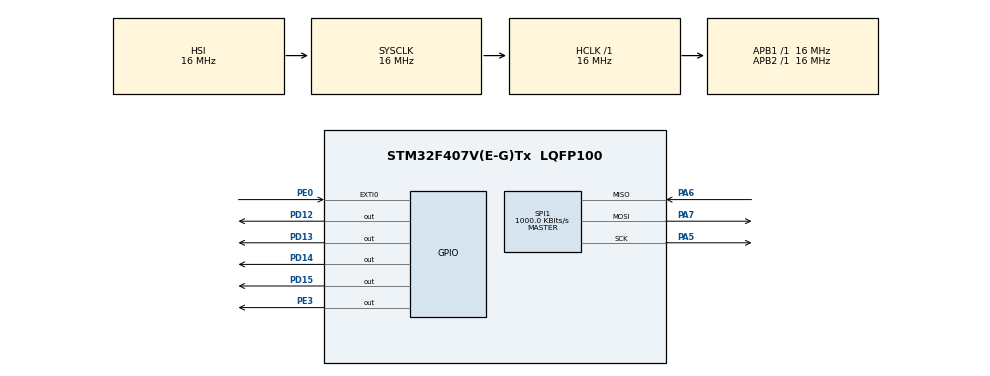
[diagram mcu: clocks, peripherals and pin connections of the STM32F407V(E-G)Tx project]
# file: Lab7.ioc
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Mcu.Family=STM32F4
Mcu.Name=STM32F407V(E-G)Tx
Mcu.Package=LQFP100
NVIC.EXTI0_IRQn=true\:0\:0\:false\:false\:true\:true\:true\:true
NVIC.PriorityGroup=NVIC_PRIORITYGROUP_4
PA5.Mode=Full_Duplex_Master
PA5.Signal=SPI1_SCK
PA6.Mode=Full_Duplex_Master
PA6.Signal=SPI1_MISO
PA7.Mode=Full_Duplex_Master
PA7.Signal=SPI1_MOSI
PD12.Signal=GPIO_Output
PD13.Signal=GPIO_Output
PD14.Signal=GPIO_Output
PD15.Signal=GPIO_Output
PE0.Signal=GPXTI0
PE3.Signal=GPIO_Output
ProjectManager.HeapSize=0x200
ProjectManager.StackSize=0x400
ProjectManager.TargetToolchain=STM32CubeIDE
RCC.AHBFreq_Value=16000000
RCC.APB1Freq_Value=16000000
RCC.APB2Freq_Value=16000000
RCC.CortexFreq_Value=16000000
RCC.HSE_VALUE=25000000
RCC.HSI_VALUE=16000000
RCC.LSE_VALUE=32768
RCC.SYSCLKFreq_VALUE=16000000
RCC.VCOOutputFreq_Value=192000000
SPI1.BaudRatePrescaler=SPI_BAUDRATEPRESCALER_16
SPI1.CalculateBaudRate=1000.0 KBits/s
SPI1.Direction=SPI_DIRECTION_2LINES
SPI1.Mode=SPI_MODE_MASTER
SPI1.VirtualType=VM_MASTER
board=custom

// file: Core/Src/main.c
/* USER CODE BEGIN Header */
/**
  ******************************************************************************
  * @file           : main.c
  * @brief          : Main program body
  ******************************************************************************
  * @attention
  *
  * Copyright (c) 2023 STMicroelectronics.
  * All rights reserved.
  *
  * This software is licensed under terms that can be found in the LICENSE file
  * in the root directory of this software component.
  * If no LICENSE file comes with this software, it is provided AS-IS.
  *
  ******************************************************************************
  */
/* USER CODE END Header */
#include "main.h"

/* USER CODE BEGIN Includes */

#include "MY_LIS3DSH.h"

/* USER CODE END Includes */

SPI_HandleTypeDef hspi1;

/* USER CODE BEGIN PV */

LIS3DSH_DataScaled myData;
uint8_t drdyFlag=0;

/* USER CODE END PV */

void SystemClock_Config(void);
static void MX_GPIO_Init(void);
static void MX_SPI1_Init(void);

/* USER CODE BEGIN 0 */

void HAL_GPIO_EXTI_Callback(uint16_t GPIO_Pin)
{
  /* Prevent unused argument(s) compilation warning */
  UNUSED(GPIO_Pin);
  /* NOTE: This function Should not be modified, when the callback is needed,
           the HAL_GPIO_EXTI_Callback could be implemented in the user file
   */

  drdyFlag = 1;
}

/* USER CODE END 0 */

int main(void)
{

  /* MCU Configuration--------------------------------------------------------*/

  /* Reset of all peripherals, Initializes the Flash interface and the Systick. */
  HAL_Init();

  /* Configure the system clock */
  SystemClock_Config();

  /* Initialize all configured peripherals */
  MX_GPIO_Init();
  MX_SPI1_Init();
  /* USER CODE BEGIN 2 */
  LIS3DSH_InitTypeDef myAccConfigDef;

  myAccConfigDef.dataRate = LIS3DSH_DATARATE_25;
  myAccConfigDef.fullScale = LIS3DSH_FULLSCALE_4;
  myAccConfigDef.antiAliasingBW = LIS3DSH_FILTER_BW_50;
  myAccConfigDef.enableAxes = LIS3DSH_XYZ_ENABLE;
  myAccConfigDef.interruptEnable = true;
  LIS3DSH_Init(&hspi1, &myAccConfigDef);

  LIS3DSH_X_calibrate(-1000.0, 980.0);
  LIS3DSH_Y_calibrate(-1020.0, 1040.0);
  LIS3DSH_Z_calibrate(-920.0, 1040.0);

  /* USER CODE END 2 */

  /* Infinite loop */
  /* USER CODE BEGIN WHILE */
  while (1)
  {
//	  HAL_GPIO_WritePin(GPIOD, GPIO_PIN_15, GPIO_PIN_SET);
	  if(drdyFlag == 1)
	  {
//		  HAL_GPIO_WritePin(GPIOD, GPIO_PIN_14, GPIO_PIN_SET);
		  myData = LIS3DSH_GetDataScaled();
		  if (myData.y > -600.0 && myData.y < -100.0)
		  {
			  HAL_GPIO_WritePin(GPIOD, GPIO_PIN_15, GPIO_PIN_SET);
			  HAL_GPIO_WritePin(GPIOD, GPIO_PIN_13, GPIO_PIN_RESET);

		  }
		  else if (myData.y > 100.0 && myData.y < 600.0)
		  {

		  	  HAL_GPIO_WritePin(GPIOD, GPIO_PIN_13, GPIO_PIN_SET);
		  	  HAL_GPIO_WritePin(GPIOD, GPIO_PIN_15, GPIO_PIN_RESET);

		  }
		  else
		  {
			  HAL_GPIO_WritePin(GPIOD, GPIO_PIN_13, GPIO_PIN_RESET);
 		  	  HAL_GPIO_WritePin(GPIOD, GPIO_PIN_15, GPIO_PIN_RESET);

		  }
		  if (myData.x > 100.0 && myData.x < 600.0)
		  {

		  	  HAL_GPIO_WritePin(GPIOD, GPIO_PIN_14, GPIO_PIN_SET);
		  	  HAL_GPIO_WritePin(GPIOD, GPIO_PIN_12, GPIO_PIN_RESET);
		  }
		  else if (myData.x > -600.0 && myData.x < -100.0)
		  {
		  	  HAL_GPIO_WritePin(GPIOD, GPIO_PIN_12, GPIO_PIN_SET);
		  	  HAL_GPIO_WritePin(GPIOD, GPIO_PIN_14, GPIO_PIN_RESET);

		  }
		  else
		  {
			  HAL_GPIO_WritePin(GPIOD, GPIO_PIN_12, GPIO_PIN_RESET);
			  HAL_GPIO_WritePin(GPIOD, GPIO_PIN_14, GPIO_PIN_RESET);
		  }

		  drdyFlag = 0;
	  }
    /* USER CODE END WHILE */

  }
}

void SystemClock_Config(void)
{
  RCC_OscInitTypeDef RCC_OscInitStruct = {0};
  RCC_ClkInitTypeDef RCC_ClkInitStruct = {0};

  /** Configure the main internal regulator output voltage
  */
  __HAL_RCC_PWR_CLK_ENABLE();
  __HAL_PWR_VOLTAGESCALING_CONFIG(PWR_REGULATOR_VOLTAGE_SCALE1);

  /** Initializes the RCC Oscillators according to the specified parameters
  * in the RCC_OscInitTypeDef structure.
  */
  RCC_OscInitStruct.OscillatorType = RCC_OSCILLATORTYPE_HSI;
  RCC_OscInitStruct.HSIState = RCC_HSI_ON;
  RCC_OscInitStruct.HSICalibrationValue = RCC_HSICALIBRATION_DEFAULT;
  RCC_OscInitStruct.PLL.PLLState = RCC_PLL_NONE;
  if (HAL_RCC_OscConfig(&RCC_OscInitStruct) != HAL_OK)
  {
    Error_Handler();
  }

  /** Initializes the CPU, AHB and APB buses clocks
  */
  RCC_ClkInitStruct.ClockType = RCC_CLOCKTYPE_HCLK|RCC_CLOCKTYPE_SYSCLK
                              |RCC_CLOCKTYPE_PCLK1|RCC_CLOCKTYPE_PCLK2;
  RCC_ClkInitStruct.SYSCLKSource = RCC_SYSCLKSOURCE_HSI;
  RCC_ClkInitStruct.AHBCLKDivider = RCC_SYSCLK_DIV1;
  RCC_ClkInitStruct.APB1CLKDivider = RCC_HCLK_DIV1;
  RCC_ClkInitStruct.APB2CLKDivider = RCC_HCLK_DIV1;

  if (HAL_RCC_ClockConfig(&RCC_ClkInitStruct, FLASH_LATENCY_0) != HAL_OK)
  {
    Error_Handler();
  }
}

static void MX_SPI1_Init(void)
{

  /* SPI1 parameter configuration*/
  hspi1.Instance = SPI1;
  hspi1.Init.Mode = SPI_MODE_MASTER;
  hspi1.Init.Direction = SPI_DIRECTION_2LINES;
  hspi1.Init.DataSize = SPI_DATASIZE_8BIT;
  hspi1.Init.CLKPolarity = SPI_POLARITY_LOW;
  hspi1.Init.CLKPhase = SPI_PHASE_1EDGE;
  hspi1.Init.NSS = SPI_NSS_SOFT;
  hspi1.Init.BaudRatePrescaler = SPI_BAUDRATEPRESCALER_32;
  hspi1.Init.FirstBit = SPI_FIRSTBIT_MSB;
  hspi1.Init.TIMode = SPI_TIMODE_DISABLE;
  hspi1.Init.CRCCalculation = SPI_CRCCALCULATION_DISABLE;
  hspi1.Init.CRCPolynomial = 10;
  if (HAL_SPI_Init(&hspi1) != HAL_OK)
  {
    Error_Handler();
  }

}

static void MX_GPIO_Init(void)
{
  GPIO_InitTypeDef GPIO_InitStruct = {0};

  /* GPIO Ports Clock Enable */
  __HAL_RCC_GPIOE_CLK_ENABLE();
  __HAL_RCC_GPIOA_CLK_ENABLE();
  __HAL_RCC_GPIOD_CLK_ENABLE();

  /*Configure GPIO pin Output Level */
  HAL_GPIO_WritePin(GPIOE, GPIO_PIN_3, GPIO_PIN_RESET);

  /*Configure GPIO pin Output Level */
  HAL_GPIO_WritePin(GPIOD, GPIO_PIN_12|GPIO_PIN_13|GPIO_PIN_14|GPIO_PIN_15, GPIO_PIN_RESET);

  /*Configure GPIO pin : PE3 */
  GPIO_InitStruct.Pin = GPIO_PIN_3;
  GPIO_InitStruct.Mode = GPIO_MODE_OUTPUT_PP;
  GPIO_InitStruct.Pull = GPIO_NOPULL;
  GPIO_InitStruct.Speed = GPIO_SPEED_FREQ_LOW;
  HAL_GPIO_Init(GPIOE, &GPIO_InitStruct);

  /*Configure GPIO pins : PD12 PD13 PD14 PD15 */
  GPIO_InitStruct.Pin = GPIO_PIN_12|GPIO_PIN_13|GPIO_PIN_14|GPIO_PIN_15;
  GPIO_InitStruct.Mode = GPIO_MODE_OUTPUT_PP;
  GPIO_InitStruct.Pull = GPIO_NOPULL;
  GPIO_InitStruct.Speed = GPIO_SPEED_FREQ_LOW;
  HAL_GPIO_Init(GPIOD, &GPIO_InitStruct);

  /*Configure GPIO pin : PE0 */
  GPIO_InitStruct.Pin = GPIO_PIN_0;
  GPIO_InitStruct.Mode = GPIO_MODE_IT_RISING;
  GPIO_InitStruct.Pull = GPIO_NOPULL;
  HAL_GPIO_Init(GPIOE, &GPIO_InitStruct);

  /* EXTI interrupt init*/
  HAL_NVIC_SetPriority(EXTI0_IRQn, 0, 0);
  HAL_NVIC_EnableIRQ(EXTI0_IRQn);

}

void Error_Handler(void)
{
  __disable_irq();
  while (1)
  {
  }
}
